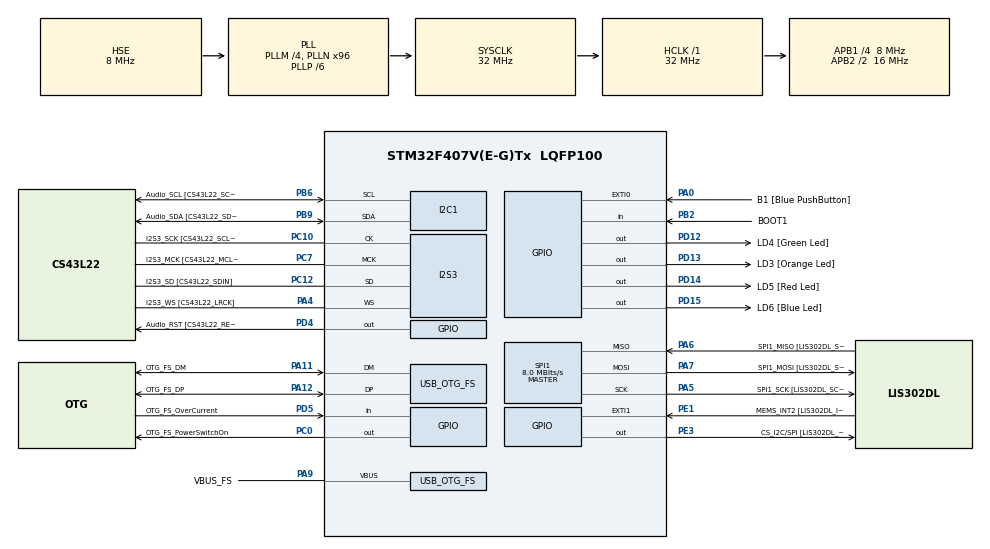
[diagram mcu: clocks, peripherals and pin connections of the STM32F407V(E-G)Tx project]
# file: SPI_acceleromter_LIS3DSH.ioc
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I2S3.AudioFreq=I2S_AUDIOFREQ_96K
I2S3.AudioFreq-Half_Duplex_Master=I2S_AUDIOFREQ_96K
I2S3.ErrorAudioFreq=- %
I2S3.ErrorAudioFreq-Half_Duplex_Master=0.8 %
I2S3.FullDuplexMode=I2S_FULLDUPLEXMODE_DISABLE
I2S3.Instance=SPI$Index
I2S3.RealAudioFreq=- Hz
I2S3.RealAudioFreq-Half_Duplex_Master=96.774 KHz
I2S3.VirtualMode=I2S_MODE_MASTER
Mcu.Family=STM32F4
Mcu.Name=STM32F407V(E-G)Tx
Mcu.Package=LQFP100
NVIC.OTG_FS_IRQn=true\:0\:0\:false\:false\:true\:true\:true\:true
NVIC.PriorityGroup=NVIC_PRIORITYGROUP_0
PA0-WKUP.GPIO_Label=B1 [Blue PushButton]
PA0-WKUP.GPIO_ModeDefaultEXTI=GPIO_MODE_EVT_RISING
PA0-WKUP.GPIO_PuPd=GPIO_NOPULL
PA0-WKUP.Signal=GPXTI0
PA10.GPIO_Label=OTG_FS_ID
PA10.GPIO_Mode=GPIO_MODE_AF_PP
PA10.GPIO_PuPd=GPIO_NOPULL
PA10.GPIO_Speed=GPIO_SPEED_FREQ_LOW
PA10.Signal=USB_OTG_FS_ID
PA11.GPIO_Label=OTG_FS_DM
PA11.GPIO_Mode=GPIO_MODE_AF_PP
PA11.GPIO_PuPd=GPIO_NOPULL
PA11.GPIO_Speed=GPIO_SPEED_FREQ_LOW
PA11.Mode=Host_Only
PA11.Signal=USB_OTG_FS_DM
PA12.GPIO_Label=OTG_FS_DP
PA12.GPIO_Mode=GPIO_MODE_AF_PP
PA12.GPIO_PuPd=GPIO_NOPULL
PA12.GPIO_Speed=GPIO_SPEED_FREQ_LOW
PA12.Mode=Host_Only
PA12.Signal=USB_OTG_FS_DP
PA13.GPIO_Label=SWDIO
PA13.Mode=Serial_Wire
PA13.Signal=SYS_JTMS-SWDIO
PA14.GPIO_Label=SWCLK
PA14.Mode=Serial_Wire
PA14.Signal=SYS_JTCK-SWCLK
PA4.GPIO_Label=I2S3_WS [CS43L22_LRCK]
PA4.GPIO_Mode=GPIO_MODE_AF_PP
PA4.GPIO_PuPd=GPIO_NOPULL
PA4.GPIO_Speed=GPIO_SPEED_FREQ_LOW
PA4.Mode=Half_Duplex_Master
PA4.Signal=I2S3_WS
PA5.GPIO_Label=SPI1_SCK [LIS302DL_SCL/SPC]
PA5.GPIO_Mode=GPIO_MODE_AF_PP
PA5.GPIO_PuPd=GPIO_NOPULL
PA5.GPIO_Speed=GPIO_SPEED_FREQ_LOW
PA5.Mode=Full_Duplex_Master
PA5.Signal=SPI1_SCK
PA6.GPIO_Label=SPI1_MISO [LIS302DL_SDO]
PA6.GPIO_Mode=GPIO_MODE_AF_PP
PA6.GPIO_PuPd=GPIO_NOPULL
PA6.GPIO_Speed=GPIO_SPEED_FREQ_LOW
PA6.Mode=Full_Duplex_Master
PA6.Signal=SPI1_MISO
PA7.GPIO_Label=SPI1_MOSI [LIS302DL_SDA/SDI/SDO]
PA7.GPIO_Mode=GPIO_MODE_AF_PP
PA7.GPIO_PuPd=GPIO_NOPULL
PA7.GPIO_Speed=GPIO_SPEED_FREQ_LOW
PA7.Mode=Full_Duplex_Master
PA7.Signal=SPI1_MOSI
PA9.GPIO_Label=VBUS_FS
PA9.GPIO_Mode=GPIO_MODE_INPUT
PA9.GPIO_PuPd=GPIO_NOPULL
PA9.Mode=Activate_VBUS
PA9.Signal=USB_OTG_FS_VBUS
PB10.GPIO_Label=CLK_IN [MP45DT02_CLK]
PB10.GPIO_Mode=GPIO_MODE_AF_PP
PB10.GPIO_PuPd=GPIO_NOPULL
PB10.GPIO_Speed=GPIO_SPEED_FREQ_LOW
PB10.Signal=I2S2_CK
PB2.GPIO_Label=BOOT1
PB2.GPIO_Mode=GPIO_MODE_INPUT
PB2.GPIO_PuPd=GPIO_NOPULL
PB2.Signal=GPIO_Input
PB3.GPIO_Label=SWO
PB3.Signal=SYS_JTDO-SWO
PB6.GPIO_Label=Audio_SCL [CS43L22_SCL]
PB6.GPIO_Mode=GPIO_MODE_AF_OD
PB6.GPIO_Pu=GPIO_PULLUP
PB6.GPIO_PuPd=GPIO_NOPULL
PB6.GPIO_Speed=GPIO_SPEED_FREQ_LOW
PB6.Mode=I2C
PB6.Signal=I2C1_SCL
PB9.GPIO_Label=Audio_SDA [CS43L22_SDA]
PB9.GPIO_Mode=GPIO_MODE_AF_OD
PB9.GPIO_Pu=GPIO_PULLUP
PB9.GPIO_PuPd=GPIO_NOPULL
PB9.GPIO_Speed=GPIO_SPEED_FREQ_LOW
PB9.Mode=I2C
PB9.Signal=I2C1_SDA
PC0.GPIO_Label=OTG_FS_PowerSwitchOn
PC0.GPIO_PuPd=GPIO_NOPULL
PC0.GPIO_Speed=GPIO_SPEED_FREQ_LOW
PC0.PinState=GPIO_PIN_SET
PC0.Signal=GPIO_Output
PC10.GPIO_Label=I2S3_SCK [CS43L22_SCLK]
PC10.GPIO_Mode=GPIO_MODE_AF_PP
PC10.GPIO_PuPd=GPIO_NOPULL
PC10.GPIO_Speed=GPIO_SPEED_FREQ_LOW
PC10.Mode=Half_Duplex_Master
PC10.Signal=I2S3_CK
PC12.GPIO_Label=I2S3_SD [CS43L22_SDIN]
PC12.GPIO_Mode=GPIO_MODE_AF_PP
PC12.GPIO_PuPd=GPIO_NOPULL
PC12.GPIO_Speed=GPIO_SPEED_FREQ_LOW
PC12.Mode=Half_Duplex_Master
PC12.Signal=I2S3_SD
PC14-OSC32_IN.GPIO_Label=PC14-OSC32_IN
PC14-OSC32_IN.Mode=LSE-External-Oscillator
PC14-OSC32_IN.Signal=RCC_OSC32_IN
PC15-OSC32_OUT.GPIO_Label=PC15-OSC32_OUT
PC15-OSC32_OUT.Mode=LSE-External-Oscillator
PC15-OSC32_OUT.Signal=RCC_OSC32_OUT
PC3.GPIO_Label=PDM_OUT [MP45DT02_DOUT]
PC3.GPIO_Mode=GPIO_MODE_AF_PP
PC3.GPIO_PuPd=GPIO_NOPULL
PC3.GPIO_Speed=GPIO_SPEED_FREQ_LOW
PC3.Signal=I2S2_SD
PC7.GPIO_Label=I2S3_MCK [CS43L22_MCLK]
PC7.GPIO_Mode=GPIO_MODE_AF_PP
PC7.GPIO_PuPd=GPIO_NOPULL
PC7.GPIO_Speed=GPIO_SPEED_FREQ_LOW
PC7.Mode=Master_Clock_Activated
PC7.Signal=I2S3_MCK
PD12.GPIO_Label=LD4 [Green Led]
PD12.GPIO_PuPd=GPIO_NOPULL
PD12.GPIO_Speed=GPIO_SPEED_FREQ_LOW
PD12.Signal=GPIO_Output
PD13.GPIO_Label=LD3 [Orange Led]
PD13.GPIO_PuPd=GPIO_NOPULL
PD13.GPIO_Speed=GPIO_SPEED_FREQ_LOW
PD13.Signal=GPIO_Output
PD14.GPIO_Label=LD5 [Red Led]
PD14.GPIO_PuPd=GPIO_NOPULL
PD14.GPIO_Speed=GPIO_SPEED_FREQ_LOW
PD14.Signal=GPIO_Output
PD15.GPIO_Label=LD6 [Blue Led]
PD15.GPIO_PuPd=GPIO_NOPULL
PD15.GPIO_Speed=GPIO_SPEED_FREQ_LOW
PD15.Signal=GPIO_Output
PD4.GPIO_Label=Audio_RST [CS43L22_RESET]
PD4.GPIO_PuPd=GPIO_NOPULL
PD4.GPIO_Speed=GPIO_SPEED_FREQ_LOW
PD4.Signal=GPIO_Output
PD5.GPIO_Label=OTG_FS_OverCurrent
PD5.GPIO_Mode=GPIO_MODE_INPUT
PD5.GPIO_PuPd=GPIO_NOPULL
PD5.Signal=GPIO_Input
PE1.GPIO_Label=MEMS_INT2 [LIS302DL_INT2]
PE1.GPIO_ModeDefaultEXTI=GPIO_MODE_EVT_RISING
PE1.GPIO_PuPd=GPIO_NOPULL
PE1.Signal=GPXTI1
PE3.GPIO_Label=CS_I2C/SPI [LIS302DL_CS_I2C/SPI]
PE3.GPIO_PuPd=GPIO_NOPULL
PE3.GPIO_Speed=GPIO_SPEED_FREQ_LOW
PE3.Signal=GPIO_Output
PH0-OSC_IN.GPIO_Label=PH0-OSC_IN
PH0-OSC_IN.Mode=HSE-External-Oscillator
PH0-OSC_IN.Signal=RCC_OSC_IN
PH1-OSC_OUT.GPIO_Label=PH1-OSC_OUT
PH1-OSC_OUT.Mode=HSE-External-Oscillator
PH1-OSC_OUT.Signal=RCC_OSC_OUT
ProjectManager.HeapSize=0x200
ProjectManager.StackSize=0x400
ProjectManager.TargetToolchain=STM32CubeIDE
RCC.48MHZClocksFreq_Value=48000000
RCC.AHBFreq_Value=32000000
RCC.APB1CLKDivider=RCC_HCLK_DIV4
RCC.APB1Freq_Value=8000000
RCC.APB1TimFreq_Value=16000000
RCC.APB2CLKDivider=RCC_HCLK_DIV2
RCC.APB2Freq_Value=16000000
RCC.APB2TimFreq_Value=32000000
RCC.CortexFreq_Value=32000000
RCC.HCLKFreq_Value=32000000
RCC.HSE_VALUE=8000000
RCC.HSI_VALUE=16000000
RCC.PLLI2SN=50
RCC.PLLM=4
RCC.PLLN=96
RCC.PLLP=RCC_PLLP_DIV6
RCC.SYSCLKFreq_VALUE=32000000
RCC.SYSCLKSource=RCC_SYSCLKSOURCE_PLLCLK
RCC.VCOOutputFreq_Value=192000000
SPI1.BaudRatePrescaler-Full_Duplex_Master=SPI_BAUDRATEPRESCALER_2
SPI1.CalculateBaudRate=8.0 MBits/s
SPI1.CalculateBaudRate-Full_Duplex_Master=42.0 MBits/s
SPI1.Direction=SPI_DIRECTION_2LINES
SPI1.Mode=SPI_MODE_MASTER
SPI1.Mode-Full_Duplex_Master=SPI_MODE_MASTER
SPI1.VirtualType=VM_MASTER
USB_HOST.BSP.number=1
USB_HOST.USBH_HandleTypeDef-CDC_FS=hUsbHostFS
USB_HOST.VirtualModeFS=Cdc
USB_HOST0.BSP.STBoard=false
USB_HOST0.BSP.api=Unknown
USB_HOST0.BSP.instance=PC0
USB_HOST0.BSP.ip=GPIO
USB_HOST0.BSP.mode=Output
USB_HOST0.BSP.name=Drive_VBUS_FS
USB_HOST0.BSP.solution=PC0
USB_OTG_FS.VirtualMode=Host_Only
USB_OTG_FS.phy_itface=HCD_PHY_EMBEDDED
VP_USB_HOST_VS_USB_HOST_CDC_FS.Mode=CDC_FS
board=STM32F407G-DISC1

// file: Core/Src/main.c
/* USER CODE BEGIN Header */
/**
 ******************************************************************************
 * @file           : main.c
 * @brief          : Main program body
 ******************************************************************************
 * @attention
 *
 * Copyright (c) 2025 STMicroelectronics.
 * All rights reserved.
 *
 * This software is licensed under terms that can be found in the LICENSE file
 * in the root directory of this software component.
 * If no LICENSE file comes with this software, it is provided AS-IS.
 *
 ******************************************************************************
 */
/* USER CODE END Header */
#include "main.h"
#include "usb_host.h"

I2C_HandleTypeDef hi2c1;

I2S_HandleTypeDef hi2s3;

SPI_HandleTypeDef hspi1;

void SystemClock_Config(void);
static void MX_GPIO_Init(void);
static void MX_I2C1_Init(void);
static void MX_I2S3_Init(void);
static void MX_SPI1_Init(void);
void MX_USB_HOST_Process(void);

/* USER CODE BEGIN 0 */
uint16_t x,y,z;
float accel_x, accel_y, accel_z;

/* USER CODE END 0 */

int main(void)
{

	/* MCU Configuration--------------------------------------------------------*/

	/* Reset of all peripherals, Initializes the Flash interface and the Systick. */
	HAL_Init();

	/* Configure the system clock */
	SystemClock_Config();

	/* Initialize all configured peripherals */
	MX_GPIO_Init();
	MX_I2C1_Init();
	MX_I2S3_Init();
	MX_SPI1_Init();
	MX_USB_HOST_Init();
	/* USER CODE BEGIN 2 */
	uint8_t spi_TX_buffer[2];
	uint8_t spi_RX_buffer[6];
	float threshold = 2000.0;
	float threshold_g = (threshold * 2.0) / (1 << 15);
	// send data to LIS3SDH
	// enabling the slave
	HAL_GPIO_WritePin(CS_I2C_SPI_GPIO_Port, CS_I2C_SPI_Pin, GPIO_PIN_RESET);
	// address + data
	spi_TX_buffer[0] = 0x20;
	spi_TX_buffer[1] = 0x77;

	HAL_SPI_Transmit(&hspi1, spi_TX_buffer, 2, 100);
	// disabling the slave
	HAL_GPIO_WritePin(CS_I2C_SPI_GPIO_Port, CS_I2C_SPI_Pin, GPIO_PIN_SET);

	HAL_GPIO_WritePin(LD3_GPIO_Port, LD3_Pin, GPIO_PIN_RESET);
	HAL_GPIO_WritePin(LD4_GPIO_Port, LD4_Pin, GPIO_PIN_RESET);
	HAL_GPIO_WritePin(LD5_GPIO_Port, LD5_Pin, GPIO_PIN_RESET);
	HAL_GPIO_WritePin(LD6_GPIO_Port, LD6_Pin, GPIO_PIN_RESET);

	/* USER CODE END 2 */

	/* Infinite loop */
	while (1)
	{
		MX_USB_HOST_Process();

		/* USER CODE BEGIN 3 */
		spi_TX_buffer[0]=0xAF;
		HAL_GPIO_WritePin(CS_I2C_SPI_GPIO_Port, CS_I2C_SPI_Pin, GPIO_PIN_RESET);
		HAL_SPI_Transmit(&hspi1, spi_TX_buffer, 1, 100);
		HAL_SPI_Receive(&hspi1, spi_RX_buffer, 6, 100);
		HAL_GPIO_WritePin(CS_I2C_SPI_GPIO_Port, CS_I2C_SPI_Pin, GPIO_PIN_SET);

		x = spi_RX_buffer[1] << 8 | spi_RX_buffer[0];
		y = spi_RX_buffer[3] << 8 | spi_RX_buffer[2];
		z = spi_RX_buffer[5] << 8 | spi_RX_buffer[4];

		accel_x = (x * 2.0) / (1 << 15);
		accel_y = (y * 2.0) / (1 << 15);
		accel_z = (z * 2.0) / (1 << 15);

		// receive data from LIS3SDH

		if (accel_x < -threshold_g) {
			HAL_GPIO_WritePin(LD4_GPIO_Port, LD4_Pin, GPIO_PIN_SET);
		} else {
			HAL_GPIO_WritePin(LD4_GPIO_Port, LD4_Pin, GPIO_PIN_RESET);
		}

		if (accel_x > threshold_g) {
			HAL_GPIO_WritePin(LD5_GPIO_Port, LD5_Pin, GPIO_PIN_SET);
		} else {
			HAL_GPIO_WritePin(LD5_GPIO_Port, LD5_Pin, GPIO_PIN_RESET);
		}

		if (accel_y < -threshold_g) {
			HAL_GPIO_WritePin(LD6_GPIO_Port, LD6_Pin, GPIO_PIN_SET);
		} else {
			HAL_GPIO_WritePin(LD6_GPIO_Port, LD6_Pin, GPIO_PIN_RESET);
		}

		if (accel_y > threshold_g) {
			HAL_GPIO_WritePin(LD3_GPIO_Port, LD3_Pin, GPIO_PIN_SET);
		} else {
			HAL_GPIO_WritePin(LD3_GPIO_Port, LD3_Pin, GPIO_PIN_RESET);
		}

		HAL_Delay(100);
	}
	/* USER CODE END 3 */
}

void SystemClock_Config(void)
{
	RCC_OscInitTypeDef RCC_OscInitStruct = {0};
	RCC_ClkInitTypeDef RCC_ClkInitStruct = {0};

	/** Configure the main internal regulator output voltage
	 */
	__HAL_RCC_PWR_CLK_ENABLE();
	__HAL_PWR_VOLTAGESCALING_CONFIG(PWR_REGULATOR_VOLTAGE_SCALE1);

	/** Initializes the RCC Oscillators according to the specified parameters
	 * in the RCC_OscInitTypeDef structure.
	 */
	RCC_OscInitStruct.OscillatorType = RCC_OSCILLATORTYPE_HSE;
	RCC_OscInitStruct.HSEState = RCC_HSE_ON;
	RCC_OscInitStruct.PLL.PLLState = RCC_PLL_ON;
	RCC_OscInitStruct.PLL.PLLSource = RCC_PLLSOURCE_HSE;
	RCC_OscInitStruct.PLL.PLLM = 4;
	RCC_OscInitStruct.PLL.PLLN = 96;
	RCC_OscInitStruct.PLL.PLLP = RCC_PLLP_DIV6;
	RCC_OscInitStruct.PLL.PLLQ = 4;
	if (HAL_RCC_OscConfig(&RCC_OscInitStruct) != HAL_OK)
	{
		Error_Handler();
	}

	/** Initializes the CPU, AHB and APB buses clocks
	 */
	RCC_ClkInitStruct.ClockType = RCC_CLOCKTYPE_HCLK|RCC_CLOCKTYPE_SYSCLK
			|RCC_CLOCKTYPE_PCLK1|RCC_CLOCKTYPE_PCLK2;
	RCC_ClkInitStruct.SYSCLKSource = RCC_SYSCLKSOURCE_PLLCLK;
	RCC_ClkInitStruct.AHBCLKDivider = RCC_SYSCLK_DIV1;
	RCC_ClkInitStruct.APB1CLKDivider = RCC_HCLK_DIV4;
	RCC_ClkInitStruct.APB2CLKDivider = RCC_HCLK_DIV2;

	if (HAL_RCC_ClockConfig(&RCC_ClkInitStruct, FLASH_LATENCY_1) != HAL_OK)
	{
		Error_Handler();
	}
}

static void MX_I2C1_Init(void)
{

	hi2c1.Instance = I2C1;
	hi2c1.Init.ClockSpeed = 100000;
	hi2c1.Init.DutyCycle = I2C_DUTYCYCLE_2;
	hi2c1.Init.OwnAddress1 = 0;
	hi2c1.Init.AddressingMode = I2C_ADDRESSINGMODE_7BIT;
	hi2c1.Init.DualAddressMode = I2C_DUALADDRESS_DISABLE;
	hi2c1.Init.OwnAddress2 = 0;
	hi2c1.Init.GeneralCallMode = I2C_GENERALCALL_DISABLE;
	hi2c1.Init.NoStretchMode = I2C_NOSTRETCH_DISABLE;
	if (HAL_I2C_Init(&hi2c1) != HAL_OK)
	{
		Error_Handler();
	}

}

static void MX_I2S3_Init(void)
{

	hi2s3.Instance = SPI3;
	hi2s3.Init.Mode = I2S_MODE_MASTER_TX;
	hi2s3.Init.Standard = I2S_STANDARD_PHILIPS;
	hi2s3.Init.DataFormat = I2S_DATAFORMAT_16B;
	hi2s3.Init.MCLKOutput = I2S_MCLKOUTPUT_ENABLE;
	hi2s3.Init.AudioFreq = I2S_AUDIOFREQ_96K;
	hi2s3.Init.CPOL = I2S_CPOL_LOW;
	hi2s3.Init.ClockSource = I2S_CLOCK_PLL;
	hi2s3.Init.FullDuplexMode = I2S_FULLDUPLEXMODE_DISABLE;
	if (HAL_I2S_Init(&hi2s3) != HAL_OK)
	{
		Error_Handler();
	}

}

static void MX_SPI1_Init(void)
{

	/* SPI1 parameter configuration*/
	hspi1.Instance = SPI1;
	hspi1.Init.Mode = SPI_MODE_MASTER;
	hspi1.Init.Direction = SPI_DIRECTION_2LINES;
	hspi1.Init.DataSize = SPI_DATASIZE_8BIT;
	hspi1.Init.CLKPolarity = SPI_POLARITY_LOW;
	hspi1.Init.CLKPhase = SPI_PHASE_1EDGE;
	hspi1.Init.NSS = SPI_NSS_SOFT;
	hspi1.Init.BaudRatePrescaler = SPI_BAUDRATEPRESCALER_2;
	hspi1.Init.FirstBit = SPI_FIRSTBIT_MSB;
	hspi1.Init.TIMode = SPI_TIMODE_DISABLE;
	hspi1.Init.CRCCalculation = SPI_CRCCALCULATION_DISABLE;
	hspi1.Init.CRCPolynomial = 10;
	if (HAL_SPI_Init(&hspi1) != HAL_OK)
	{
		Error_Handler();
	}

}

static void MX_GPIO_Init(void)
{
	GPIO_InitTypeDef GPIO_InitStruct = {0};

	/* GPIO Ports Clock Enable */
	__HAL_RCC_GPIOE_CLK_ENABLE();
	__HAL_RCC_GPIOC_CLK_ENABLE();
	__HAL_RCC_GPIOH_CLK_ENABLE();
	__HAL_RCC_GPIOA_CLK_ENABLE();
	__HAL_RCC_GPIOB_CLK_ENABLE();
	__HAL_RCC_GPIOD_CLK_ENABLE();

	/*Configure GPIO pin Output Level */
	HAL_GPIO_WritePin(CS_I2C_SPI_GPIO_Port, CS_I2C_SPI_Pin, GPIO_PIN_RESET);

	/*Configure GPIO pin Output Level */
	HAL_GPIO_WritePin(OTG_FS_PowerSwitchOn_GPIO_Port, OTG_FS_PowerSwitchOn_Pin, GPIO_PIN_SET);

	/*Configure GPIO pin Output Level */
	HAL_GPIO_WritePin(GPIOD, LD4_Pin|LD3_Pin|LD5_Pin|LD6_Pin
			|Audio_RST_Pin, GPIO_PIN_RESET);

	/*Configure GPIO pin : CS_I2C_SPI_Pin */
	GPIO_InitStruct.Pin = CS_I2C_SPI_Pin;
	GPIO_InitStruct.Mode = GPIO_MODE_OUTPUT_PP;
	GPIO_InitStruct.Pull = GPIO_NOPULL;
	GPIO_InitStruct.Speed = GPIO_SPEED_FREQ_LOW;
	HAL_GPIO_Init(CS_I2C_SPI_GPIO_Port, &GPIO_InitStruct);

	/*Configure GPIO pin : OTG_FS_PowerSwitchOn_Pin */
	GPIO_InitStruct.Pin = OTG_FS_PowerSwitchOn_Pin;
	GPIO_InitStruct.Mode = GPIO_MODE_OUTPUT_PP;
	GPIO_InitStruct.Pull = GPIO_NOPULL;
	GPIO_InitStruct.Speed = GPIO_SPEED_FREQ_LOW;
	HAL_GPIO_Init(OTG_FS_PowerSwitchOn_GPIO_Port, &GPIO_InitStruct);

	/*Configure GPIO pin : PDM_OUT_Pin */
	GPIO_InitStruct.Pin = PDM_OUT_Pin;
	GPIO_InitStruct.Mode = GPIO_MODE_AF_PP;
	GPIO_InitStruct.Pull = GPIO_NOPULL;
	GPIO_InitStruct.Speed = GPIO_SPEED_FREQ_LOW;
	GPIO_InitStruct.Alternate = GPIO_AF5_SPI2;
	HAL_GPIO_Init(PDM_OUT_GPIO_Port, &GPIO_InitStruct);

	/*Configure GPIO pin : B1_Pin */
	GPIO_InitStruct.Pin = B1_Pin;
	GPIO_InitStruct.Mode = GPIO_MODE_EVT_RISING;
	GPIO_InitStruct.Pull = GPIO_NOPULL;
	HAL_GPIO_Init(B1_GPIO_Port, &GPIO_InitStruct);

	/*Configure GPIO pin : BOOT1_Pin */
	GPIO_InitStruct.Pin = BOOT1_Pin;
	GPIO_InitStruct.Mode = GPIO_MODE_INPUT;
	GPIO_InitStruct.Pull = GPIO_NOPULL;
	HAL_GPIO_Init(BOOT1_GPIO_Port, &GPIO_InitStruct);

	/*Configure GPIO pin : CLK_IN_Pin */
	GPIO_InitStruct.Pin = CLK_IN_Pin;
	GPIO_InitStruct.Mode = GPIO_MODE_AF_PP;
	GPIO_InitStruct.Pull = GPIO_NOPULL;
	GPIO_InitStruct.Speed = GPIO_SPEED_FREQ_LOW;
	GPIO_InitStruct.Alternate = GPIO_AF5_SPI2;
	HAL_GPIO_Init(CLK_IN_GPIO_Port, &GPIO_InitStruct);

	/*Configure GPIO pins : LD4_Pin LD3_Pin LD5_Pin LD6_Pin
                           Audio_RST_Pin */
	GPIO_InitStruct.Pin = LD4_Pin|LD3_Pin|LD5_Pin|LD6_Pin
			|Audio_RST_Pin;
	GPIO_InitStruct.Mode = GPIO_MODE_OUTPUT_PP;
	GPIO_InitStruct.Pull = GPIO_NOPULL;
	GPIO_InitStruct.Speed = GPIO_SPEED_FREQ_LOW;
	HAL_GPIO_Init(GPIOD, &GPIO_InitStruct);

	/*Configure GPIO pin : OTG_FS_OverCurrent_Pin */
	GPIO_InitStruct.Pin = OTG_FS_OverCurrent_Pin;
	GPIO_InitStruct.Mode = GPIO_MODE_INPUT;
	GPIO_InitStruct.Pull = GPIO_NOPULL;
	HAL_GPIO_Init(OTG_FS_OverCurrent_GPIO_Port, &GPIO_InitStruct);

	/*Configure GPIO pin : MEMS_INT2_Pin */
	GPIO_InitStruct.Pin = MEMS_INT2_Pin;
	GPIO_InitStruct.Mode = GPIO_MODE_EVT_RISING;
	GPIO_InitStruct.Pull = GPIO_NOPULL;
	HAL_GPIO_Init(MEMS_INT2_GPIO_Port, &GPIO_InitStruct);

}

void Error_Handler(void)
{
	__disable_irq();
	while (1)
	{
	}
}
